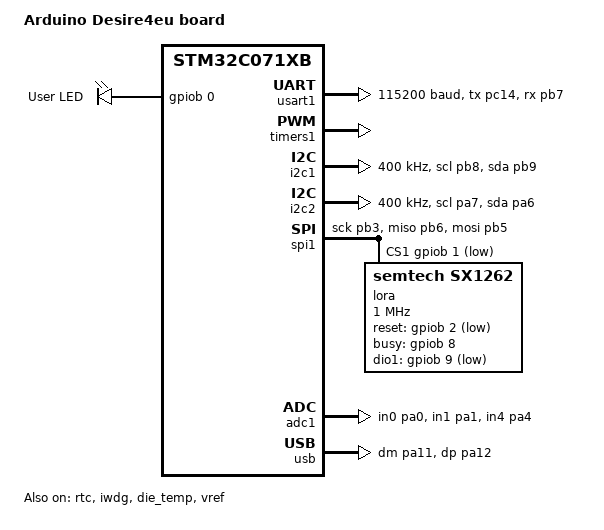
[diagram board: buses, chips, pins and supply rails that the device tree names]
/*
 * Copyright (c) 2024 STMicroelectronics
 *
 * SPDX-License-Identifier: Apache-2.0
 */

/dts-v1/;
#include <st/c0/stm32c071Xb.dtsi>
#include <st/c0/stm32c071rbtx-pinctrl.dtsi>
#include "arduino_nano_connector.dtsi"
#include <zephyr/dt-bindings/lora/sx126x.h>

/ {
	model = "Arduino Desire4eu board";
	compatible = "arduino,desire4eu";

	chosen {
		zephyr,console = &cdc_acm_uart0;
		zephyr,shell-uart = &cdc_acm_uart0;
		zephyr,sram = &sram0;
		zephyr,flash = &flash0;
	};

	leds: leds {
		compatible = "gpio-leds";

		blue_led: led {
			gpios = <&gpiob 0 GPIO_ACTIVE_HIGH>;
			label = "User LED";
		};
	};

	aliases {
		lora0 = &lora;
		led0 = &blue_led;
		watchdog0 = &iwdg;
		die-temp0 = &die_temp;
		volt-sensor0 = &vref;
	};
};

&clk_hsi {
	status = "okay";
};

&clk_hsi48 {
	status = "okay";
};

&rcc {
	clocks = <&clk_hsi>;
	clock-frequency = <DT_FREQ_M(48)>;
	ahb-prescaler = <1>;
	apb1-prescaler = <1>;
};

&usart1 {
	pinctrl-0 = <&usart1_tx_pc14 &usart1_rx_pb7>;
	pinctrl-names = "default";
	current-speed = <115200>;
	status = "okay";
};

&rtc {
	clocks = <&rcc STM32_CLOCK_BUS_APB1 0x00000400>,
		 <&rcc STM32_SRC_LSI RTC_SEL(2)>;
	status = "okay";
};

&iwdg {
	status = "okay";
};

&timers1 {
	st,prescaler = <10000>;
	status = "okay";

	pwm1: pwm {
		pinctrl-0 = <&tim1_ch1_pa5>;
		pinctrl-names = "default";
		status = "okay";
	};
};

&i2c1 {
	pinctrl-0 = <&i2c1_scl_pb8 &i2c1_sda_pb9>;
	pinctrl-names = "default";
	status = "okay";
	clock-frequency = <I2C_BITRATE_FAST>;
};

&i2c2 {
	pinctrl-0 = <&i2c2_scl_pa7 &i2c2_sda_pa6>;
	pinctrl-names = "default";
	status = "okay";
	clock-frequency = <I2C_BITRATE_FAST>;
};

&spi1 {
	pinctrl-0 = <&spi1_sck_pb3
		     	 &spi1_miso_pb6 &spi1_mosi_pb5>;
	pinctrl-names = "default";
	cs-gpios = 	<&gpioa 14 GPIO_ACTIVE_LOW>,
				<&gpiob 1 GPIO_ACTIVE_LOW>;
	status = "okay";

	lora: lora@1 {
		status = "okay";
		compatible = "semtech,sx1262";
		reg = <1>;
		reset-gpios = <&gpiob 2 GPIO_ACTIVE_LOW>;
		busy-gpios = <&gpiob 8 GPIO_ACTIVE_HIGH>;	/* TODO: fix this in HW rev */
		spi-max-frequency = <1000000>;
		dio1-gpios = <&gpiob 9 GPIO_ACTIVE_LOW>;
		/*
		dio2-tx-enable;
		dio3-tcxo-voltage = <SX126X_DIO3_TCXO_3V3>;
		*/
	};
};

&adc1 {
	pinctrl-0 = <&adc1_in0_pa0 &adc1_in1_pa1 &adc1_in4_pa4>;
	pinctrl-names = "default";
	st,adc-clock-source = "ASYNC";
	clocks = <&rcc STM32_CLOCK(APB1_2, 20U)>,
		 <&rcc STM32_SRC_HSI ADC_SEL(2)>;
	clock-names = "adcx", "adc_ker";
	st,adc-prescaler = <4>;
	status = "okay";
	vref-mv = <3300>;
};

&die_temp {
	status = "okay";
};

&vref {
	status = "okay";
};

&dma1 {
	status = "okay";
};

&dmamux1 {
	status = "okay";
};

zephyr_udc0: &usb {
	pinctrl-0 = <&usb_dm_pa11 &usb_dp_pa12>;
	pinctrl-names = "default";
	/* ram-size = <512>; */
	clocks = <&rcc STM32_CLOCK(APB1, 13)>, <&rcc STM32_SRC_HSI48 USB_SEL(0)>;
	status = "okay";
	cdc_acm_uart0: cdc_acm_uart0 {
		compatible = "zephyr,cdc-acm-uart";
	};
};
